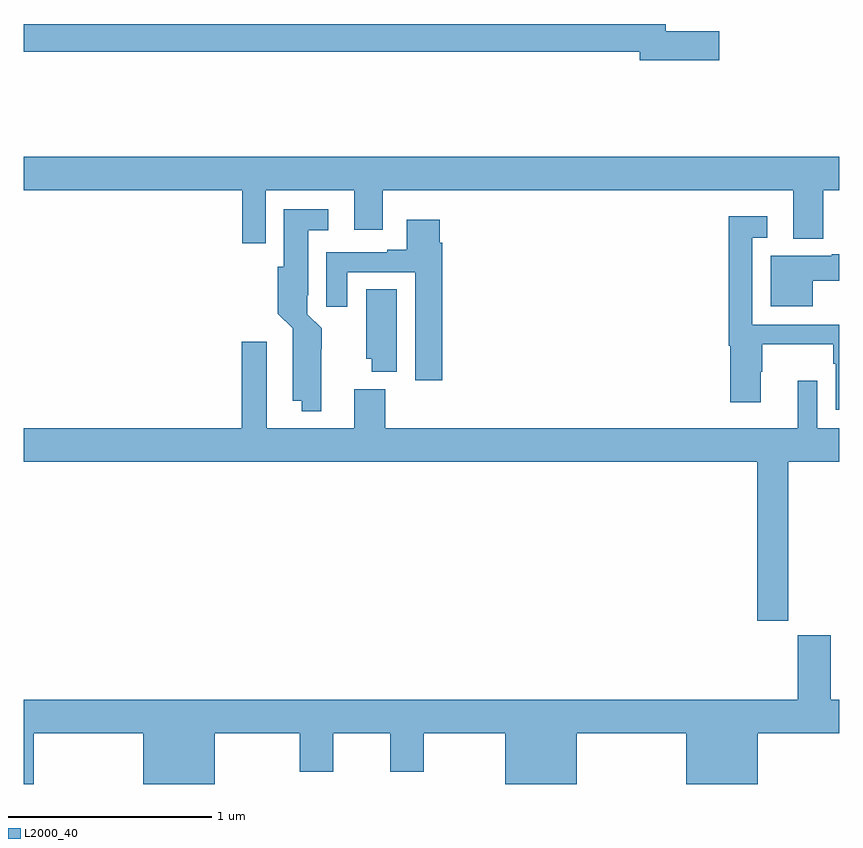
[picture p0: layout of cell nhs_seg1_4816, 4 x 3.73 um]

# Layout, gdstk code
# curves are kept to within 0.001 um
import gdstk
lib = gdstk.Library(unit=1e-6, precision=1e-09)
def P(c, l, *ps):  # polygons
    for p in ps: c.add(gdstk.Polygon(p, *l))
L2000_40 = (2000, 40)

nhs_seg1_4816 = lib.new_cell('nhs_seg1_4816')
P(nhs_seg1_4816, L2000_40, [(376.411,505.892),(376.15,505.892),(376.15,505.928),(373,505.928),(373,505.792),(376.022,505.792),(376.022,505.75),(376.411,505.75)],
  [(374.187,505.112),(374.621,505.112),(374.621,504.918),(374.761,504.918),(374.761,505.112),(376.775,505.112),(376.775,504.875),(376.923,504.875),(376.923,505.112),(377,505.112),(377,505.276),(373,505.276),(373,505.112),(374.071,505.112),(374.071,504.852),(374.187,504.852)],
  [(374.46,504.332),(374.461,504.434),(374.391,504.504),(374.391,504.598),(374.395,504.598),(374.395,504.917),(374.494,504.917),(374.494,505.018),(374.276,505.018),(374.276,504.738),(374.246,504.738),(374.246,504.506),(374.318,504.434),(374.318,504.08),(374.363,504.08),(374.363,504.029),(374.46,504.029)],
  [(377,504.453),(376.575,504.453),(376.575,504.879),(376.648,504.879),(376.648,504.985),(376.459,504.985),(376.459,504.35),(376.466,504.35),(376.466,504.072),(376.615,504.072),(376.615,504.222),(376.623,504.222),(376.623,504.356),(376.971,504.356),(376.971,504.26),(376.983,504.26),(376.983,504.036),(377,504.036)],
  [(375.053,504.854),(375.04,504.854),(375.04,504.967),(374.879,504.967),(374.879,504.82),(374.783,504.82),(374.783,504.807),(374.483,504.807),(374.483,504.54),(374.587,504.54),(374.587,504.711),(374.921,504.711),(374.921,504.18),(375.053,504.18)],
  [(376.87,504.668),(377,504.668),(377,504.798),(376.964,504.798),(376.964,504.79),(376.664,504.79),(376.664,504.542),(376.87,504.542)],
  [(374.83,504.626),(374.681,504.626),(374.681,504.285),(374.708,504.285),(374.708,504.221),(374.83,504.221)],
  [(376.75,503.78),(377,503.78),(377,503.944),(376.893,503.944),(376.893,504.178),(376.796,504.178),(376.796,503.944),(374.774,503.944),(374.774,504.136),(374.621,504.136),(374.621,503.944),(374.191,503.944),(374.191,504.37),(374.069,504.37),(374.069,503.944),(373,503.944),(373,503.78),(376.598,503.78),(376.598,503.001),(376.75,503.001)],
  [(373.048,502.448),(373.586,502.448),(373.586,502.199),(373.936,502.199),(373.936,502.448),(374.354,502.448),(374.354,502.26),(374.518,502.26),(374.518,502.448),(374.798,502.448),(374.798,502.26),(374.962,502.26),(374.962,502.448),(375.362,502.448),(375.362,502.199),(375.712,502.199),(375.712,502.448),(376.25,502.448),(376.25,502.199),(376.6,502.199),(376.6,502.448),(377,502.448),(377,502.612),(376.96,502.612),(376.96,502.929),(376.796,502.929),(376.796,502.612),(373,502.612),(373,502.199),(373.048,502.199)])

lib.write_gds('nhs_seg1_4816.gds')
